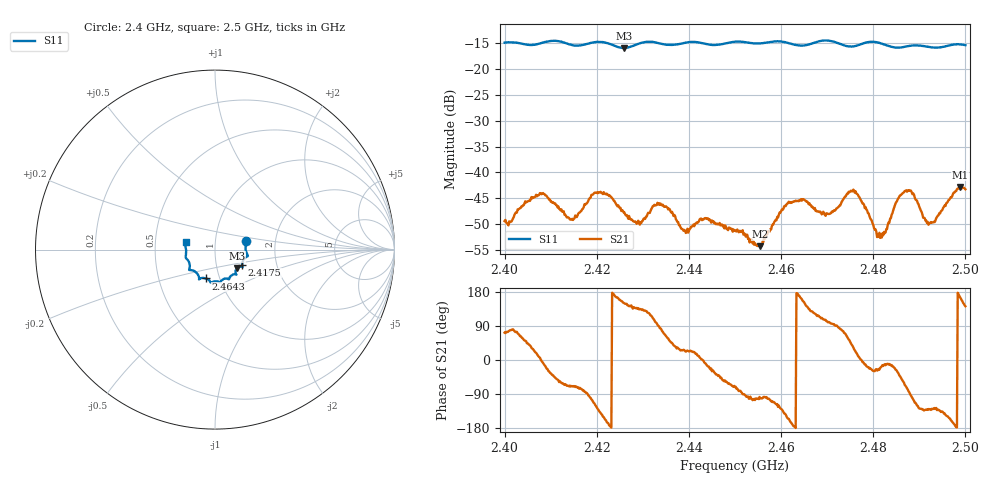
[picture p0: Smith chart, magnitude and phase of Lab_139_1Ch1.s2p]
# Hz S RI R 50
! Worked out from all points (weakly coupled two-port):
!   601 points, 2.4 GHz to 2.5 GHz, reference 50 ohm
!   highest |S21| = -42.80 dB at 2.4988 GHz (marker M1); lowest = -54.2 dB at 2.4555 GHz (marker M2)
!   lowest |S11| = -15.9 dB at 2.426 GHz (marker M3), VSWR 1.38, Z = 62.2 - j13.3 ohm
!   |S11| at or under -10 dB: start of sweep to end of sweep
!   S12 and S22 are empty: the file has one direction only
!   S11 on the Smith chart (normalised r, x): 2.4 GHz: 1.41, +0.14; 2.4175 GHz: 1.33, -0.23; 2.4643 GHz: 0.86, -0.29; 2.5 GHz: 0.72, +0.06
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2.4e9  0.1729 0.0484  0.00103 0.00323  0 0  0 0
2.408167e9  0.1779 -0.022  0.00623 -0.000564  0 0  0 0
2.414e9  0.1669 -0.0465  0.00125 -0.00341  0 0  0 0
2.416667e9  0.1524 -0.0739  0.000982 -0.00414  0 0  0 0
2.4175e9  0.1513 -0.0835  0.000492 -0.00486  0 0  0 0
2.421167e9  0.1542 -0.097  -0.00515 -0.00361  0 0  0 0
2.426e9  0.1207 -0.1042  -0.00355 0.00207  0 0  0 0
2.429167e9  0.1154 -0.1326  -0.00226 0.00238  0 0  0 0
2.433333e9  0.1137 -0.1372  -4.35e-05 0.00491  0 0  0 0
2.439e9  0.08 -0.16  0.00251 0.00123  0 0  0 0
2.45e9  0.0285 -0.1813  0.00086 -0.00263  0 0  0 0
2.4555e9  -0.00231 -0.177  -0.000385 -0.0019  0 0  0 0
2.464333e9  -0.0498 -0.1608  -0.00529 0.00162  0 0  0 0
2.466667e9  -0.0763 -0.1587  -0.00288 0.00362  0 0  0 0
2.470667e9  -0.0883 -0.1648  -0.000519 0.00397  0 0  0 0
2.475667e9  -0.1128 -0.1209  0.00567 0.00378  0 0  0 0
2.481333e9  -0.143 -0.1075  0.00235 -0.00113  0 0  0 0
2.483333e9  -0.1405 -0.0901  0.00323 -0.000687  0 0  0 0
2.487e9  -0.1552 -0.0545  0.00247 -0.00615  0 0  0 0
2.4925e9  -0.161 -0.0201  -0.00221 -0.00248  0 0  0 0
2.498833e9  -0.1692 0.037  -0.00702 0.00178  0 0  0 0
2.5e9  -0.1642 0.043  -0.00541 0.00425  0 0  0 0
